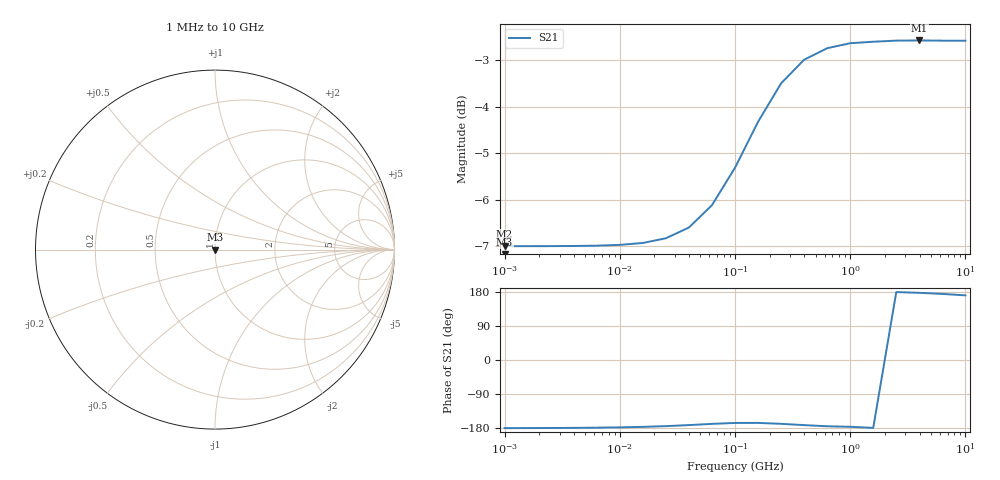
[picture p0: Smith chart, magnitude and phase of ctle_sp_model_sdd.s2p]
!ctle_sp, differential mode, SHIPPED MODEL measured in the SystemVerilog simulator
!SDD21 only: the other three slots are zero and are not measurements
! ports: 1=diff_in (100 ohm)  2=diff_out (2000 ohm)
! measured by model simulated in xezim, I/Q demodulated
! deck  /home/vraje/s2r_runs/ctle_sparams/ctle_sp_ports.cir
! port_map  /home/vraje/spice2rnm-demos-wave/netlists/ctle_sp_ports.json
! tool  0.2.0 git 067f697
! note: SDD21 only. SDD11, SDD22 and the mode-conversion terms are NOT modelled; the transistor file beside this one carries them.
[Version] 2.0
# HZ S RI R 100
[Number of Ports] 2
[Two-Port Data Order] 21_12
[Reference] 100 2000
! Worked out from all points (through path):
!   21 points, 1 MHz to 10 GHz, reference per port
!   highest |S21| = -2.58 dB at 3.981 GHz (marker M1); lowest = -7.0 dB at 1 MHz (marker M2)
!   lowest |S11| = - dB at 1 MHz (marker M3), VSWR 1.00
!   |S11| at or under -10 dB: start of sweep to end of sweep
!   S12 and S22 are empty: the file has one direction only
[Number of Frequencies] 21
[Network Data]
1000000  0 0  -0.4468 -0.00178  0 0  0 0
1584893  0 0  -0.4468 -0.00282  0 0  0 0
2511886  0 0  -0.4468 -0.00447  0 0  0 0
3981072  0 0  -0.4469 -0.00708  0 0  0 0
6309573  0 0  -0.4472 -0.0112  0 0  0 0
1e7  0 0  -0.4479 -0.0177  0 0  0 0
1.584893e7  0 0  -0.4495 -0.0279  0 0  0 0
2.511886e7  0 0  -0.4535 -0.0437  0 0  0 0
3.981072e7  0 0  -0.463 -0.0672  0 0  0 0
6.309573e7  0 0  -0.4845 -0.0984  0 0  0 0
1e8  0 0  -0.5266 -0.1297  0 0  0 0
1.584893e8  0 0  -0.5895 -0.1469  0 0  0 0
2.511886e8  0 0  -0.6546 -0.1338  0 0  0 0
3.981072e8  0 0  -0.7011 -0.1006  0 0  0 0
6.309573e8  0 0  -0.7259 -0.0653  0 0  0 0
1e9  0 0  -0.7363 -0.048  0 0  0 0
1.584893e9  0 0  -0.7405 -0.0114  0 0  0 0
2.511886e9  0 0  -0.7425 0.0104  0 0  0 0
3.981072e9  0 0  -0.7421 0.035  0 0  0 0
6.309573e9  0 0  -0.739 0.0723  0 0  0 0
1e10  0 0  -0.7324 0.1214  0 0  0 0
[End]
